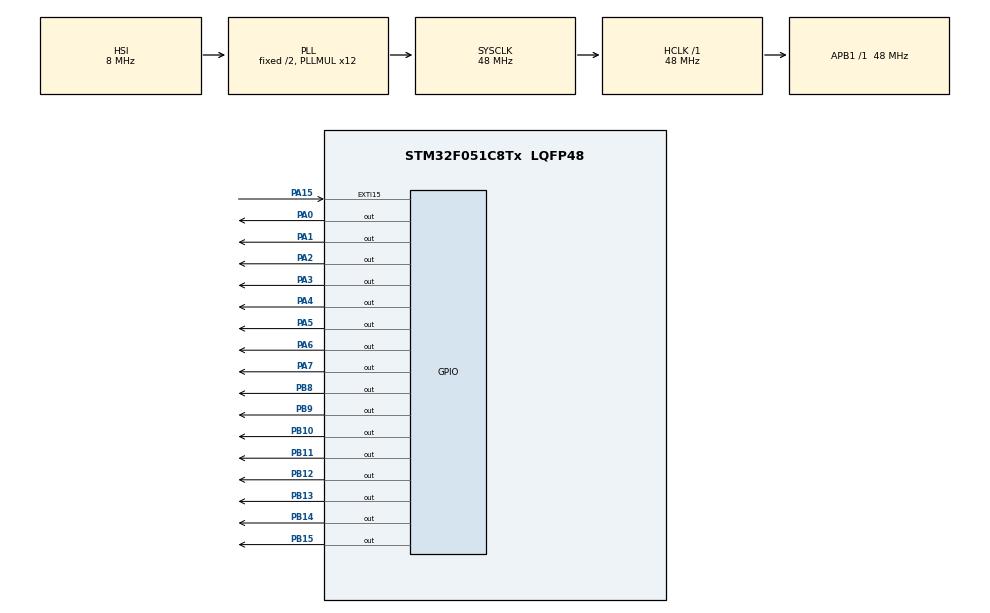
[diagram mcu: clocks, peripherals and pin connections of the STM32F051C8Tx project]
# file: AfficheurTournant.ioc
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Mcu.Family=STM32F0
Mcu.Name=STM32F051C8Tx
Mcu.Package=LQFP48
NVIC.EXTI4_15_IRQn=true\:0\:0\:false\:false\:true\:true
NVIC.TIM17_IRQn=true\:0\:0\:false\:false\:true\:true
NVIC.TIM3_IRQn=true\:0\:0\:false\:false\:true\:true
PA0.GPIO_Speed=GPIO_SPEED_FREQ_HIGH
PA0.PinState=GPIO_PIN_RESET
PA0.Signal=GPIO_Output
PA1.GPIO_ModeDefaultOutputPP=GPIO_MODE_OUTPUT_PP
PA1.GPIO_Speed=GPIO_SPEED_FREQ_HIGH
PA1.PinState=GPIO_PIN_RESET
PA1.Signal=GPIO_Output
PA15.Signal=GPXTI15
PA2.GPIO_Speed=GPIO_SPEED_FREQ_HIGH
PA2.PinState=GPIO_PIN_RESET
PA2.Signal=GPIO_Output
PA3.GPIO_Speed=GPIO_SPEED_FREQ_HIGH
PA3.PinState=GPIO_PIN_RESET
PA3.Signal=GPIO_Output
PA4.GPIO_Speed=GPIO_SPEED_FREQ_HIGH
PA4.PinState=GPIO_PIN_RESET
PA4.Signal=GPIO_Output
PA5.GPIO_Speed=GPIO_SPEED_FREQ_HIGH
PA5.PinState=GPIO_PIN_RESET
PA5.Signal=GPIO_Output
PA6.GPIO_Speed=GPIO_SPEED_FREQ_HIGH
PA6.PinState=GPIO_PIN_RESET
PA6.Signal=GPIO_Output
PA7.GPIO_Speed=GPIO_SPEED_FREQ_HIGH
PA7.PinState=GPIO_PIN_RESET
PA7.Signal=GPIO_Output
PB10.GPIO_Speed=GPIO_SPEED_FREQ_HIGH
PB10.PinState=GPIO_PIN_RESET
PB10.Signal=GPIO_Output
PB11.GPIO_Speed=GPIO_SPEED_FREQ_HIGH
PB11.PinState=GPIO_PIN_RESET
PB11.Signal=GPIO_Output
PB12.GPIO_Speed=GPIO_SPEED_FREQ_HIGH
PB12.PinState=GPIO_PIN_RESET
PB12.Signal=GPIO_Output
PB13.GPIO_Speed=GPIO_SPEED_FREQ_HIGH
PB13.PinState=GPIO_PIN_RESET
PB13.Signal=GPIO_Output
PB14.GPIO_Speed=GPIO_SPEED_FREQ_HIGH
PB14.PinState=GPIO_PIN_RESET
PB14.Signal=GPIO_Output
PB15.GPIO_Speed=GPIO_SPEED_FREQ_HIGH
PB15.PinState=GPIO_PIN_RESET
PB15.Signal=GPIO_Output
PB8.GPIO_FM8=__NULL
PB8.GPIO_Speed=GPIO_SPEED_FREQ_HIGH
PB8.PinState=GPIO_PIN_RESET
PB8.Signal=GPIO_Output
PB9.GPIO_Speed=GPIO_SPEED_FREQ_HIGH
PB9.PinState=GPIO_PIN_RESET
PB9.Signal=GPIO_Output
ProjectManager.HeapSize=0x200
ProjectManager.StackSize=0x400
ProjectManager.TargetToolchain=TrueSTUDIO
RCC.AHBFreq_Value=48000000
RCC.APB1Freq_Value=48000000
RCC.APB1TimFreq_Value=48000000
RCC.HCLKFreq_Value=48000000
RCC.PLLMUL=RCC_PLL_MUL12
RCC.SYSCLKFreq_VALUE=48000000
RCC.SYSCLKSource=RCC_SYSCLKSOURCE_PLLCLK
TIM17.Period=0xFFFF
TIM17.Prescaler=359
TIM3.Period=8333
TIM3.Prescaler=1
VP_TIM17_VS_ClockSourceINT.Mode=Enable_Timer
VP_TIM3_VS_ClockSourceINT.Mode=Internal
board=AfficheurTournant

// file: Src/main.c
/**
  ******************************************************************************
  * @file           : main.c
  * @brief          : Main program body
  ******************************************************************************
  ** This notice applies to any and all portions of this file
  * that are not between comment pairs USER CODE BEGIN and
  * USER CODE END. Other portions of this file, whether
  * inserted by the user or by software development tools
  * are owned by their respective copyright owners.
  *
  * COPYRIGHT(c) 2020 STMicroelectronics
  *
  * Redistribution and use in source and binary forms, with or without modification,
  * are permitted provided that the following conditions are met:
  *   1. Redistributions of source code must retain the above copyright notice,
  *      this list of conditions and the following disclaimer.
  *   2. Redistributions in binary form must reproduce the above copyright notice,
  *      this list of conditions and the following disclaimer in the documentation
  *      and/or other materials provided with the distribution.
  *   3. Neither the name of STMicroelectronics nor the names of its contributors
  *      may be used to endorse or promote products derived from this software
  *      without specific prior written permission.
  *
  * THIS SOFTWARE IS PROVIDED BY THE COPYRIGHT HOLDERS AND CONTRIBUTORS "AS IS"
  * AND ANY EXPRESS OR IMPLIED WARRANTIES, INCLUDING, BUT NOT LIMITED TO, THE
  * IMPLIED WARRANTIES OF MERCHANTABILITY AND FITNESS FOR A PARTICULAR PURPOSE ARE
  * DISCLAIMED. IN NO EVENT SHALL THE COPYRIGHT HOLDER OR CONTRIBUTORS BE LIABLE
  * FOR ANY DIRECT, INDIRECT, INCIDENTAL, SPECIAL, EXEMPLARY, OR CONSEQUENTIAL
  * DAMAGES (INCLUDING, BUT NOT LIMITED TO, PROCUREMENT OF SUBSTITUTE GOODS OR
  * SERVICES; LOSS OF USE, DATA, OR PROFITS; OR BUSINESS INTERRUPTION) HOWEVER
  * CAUSED AND ON ANY THEORY OF LIABILITY, WHETHER IN CONTRACT, STRICT LIABILITY,
  * OR TORT (INCLUDING NEGLIGENCE OR OTHERWISE) ARISING IN ANY WAY OUT OF THE USE
  * OF THIS SOFTWARE, EVEN IF ADVISED OF THE POSSIBILITY OF SUCH DAMAGE.
  *
  ******************************************************************************
  */
#include "main.h"
#include "stm32f0xx_hal.h"

/* USER CODE BEGIN Includes */
#include "LibCaracteres.h"
/* USER CODE END Includes */

TIM_HandleTypeDef htim3;
TIM_HandleTypeDef htim17;

/* USER CODE BEGIN PV */
/* Private variables ---------------------------------------------------------*/
TIM_HandleTypeDef htim3;
TIM_HandleTypeDef htim17;

static unsigned char Motif_Afficheur [180]={
0xFF,0xFF,0xFF,0xFF,0xFF,0xFF,
0x80,0xF6,0xF6,0xF6,0xF9,0xFF,    //P
0x80,0xBE,0xBE,0xBE,0x80,0xFF,    //O
0x80,0xBF,0xBF,0xBF,0xBF,0xFF,    //L
0xFE,0xFD,0x83,0xFD,0xFE,0xFF,    //Y
0xFE,0xFE,0x80,0xFE,0xFE,0xFF,    //T
0x80,0xB6,0xB6,0xBE,0xBE,0xFF,    //E
0x80,0xBE,0xBE,0xBE,0xBE,0xFF,    //C
0x80,0xF7,0xF7,0xF7,0x80,0xFF,    //H
0xFF,0xFF,0xFF,0xFF,0xFF,0xFF,
0xFF,0xFF,0xFF,0xFF,0xFF,0xFF,
0xFF,0xFF,0xFF,0xFF,0xFF,0xFF,
0xFF,0xFF,0xFF,0xFF,0xFF,0xFF,
0xFF,0xFF,0xFF,0xFF,0xFF,0xFF,
0xFF,0xFF,0xFF,0xFF,0xFF,0xFF,
0xFF,0xFF,0xFF,0xFF,0xFF,0xFF,
0xFF,0xFF,0xFF,0xFF,0xFF,0xFF,
0xFF,0xFF,0xFF,0xFF,0xFF,0xFF,
0xFF,0xFF,0xFF,0xFF,0xFF,0xFF,
0xFF,0xFF,0xFF,0xFF,0xFF,0xFF,
0xFF,0xFF,0xFF,0xFF,0xFF,0xFF,
0xFF,0xFF,0xFF,0xFF,0xFF,0xFF,
0xFF,0xFF,0xFF,0xFF,0xFF,0xFF,
0xFF,0xFF,0xFF,0xFF,0xFF,0xFF,
0xFF,0xFF,0xFF,0xFF,0xFF,0xFF,
0xFF,0xFF,0xFF,0xFF,0xFF,0xFF,
0xFF,0xFF,0xFF,0xFF,0xFF,0xFF,
0xFF,0xFF,0xFF,0xFF,0xFF,0xFF,
0xFF,0xFF,0xFF,0xFF,0xFF,0xFF,
0xFF,0xFF,0xFF,0xFF,0xFF,0XFF
};

volatile int DrapeauFourche;
int CompteurColonne = 0;

/* declarer la variable globale : drapeau interruption duree pixel  : Timer TIM3 */
// mettre votre code en dessous
volatile int DrapeauTim3=0;
/* declarer la variable globale : drapeau interruption duree tour complet  : Timer TIM3 */
// mettre votre code en dessous
volatile int DrapeauTim17=0;

/* USER CODE END PV */

void SystemClock_Config(void);
static void MX_GPIO_Init(void);
static void MX_TIM3_Init(void);
static void MX_TIM17_Init(void);

/* USER CODE BEGIN PFP */
/* Private function prototypes -----------------------------------------------*/

/* USER CODE END PFP */

int main(void)
{

  /* MCU Configuration----------------------------------------------------------*/

  /* Reset of all peripherals, Initializes the Flash interface and the Systick. */
  HAL_Init();

  /* Configure the system clock */
  SystemClock_Config();

  /* Initialize all configured peripherals */
  MX_GPIO_Init();
  MX_TIM3_Init();
  MX_TIM17_Init();
  /* USER CODE BEGIN 2 */
  HAL_TIM_Base_Start_IT(&htim3);
  HAL_TIM_Base_Start_IT(&htim17);
  /* USER CODE END 2 */

  /* Infinite loop */
   while (1)
   {

  /* USER CODE BEGIN 3 */

 	  if (DrapeauFourche)
 	  {
 	    /* reset du drapeau interruption externe PA15 pour synchroniser avec la routine d'interruption*/
         // ecrire le code en dessous
 		  DrapeauFourche = 0;
         /*reset du compteur de colonne*/
         // ecrire le code en dessous
 		  CompteurColonne = 0;

 		  if (!(TIM17->CR1 & (1<<0))) // test si le bit b0 de TIM17_CR1 n'est pas mis à 0
 		  {
 			  /*si oui alors demarrer le timer TIM17 : mettre à '1' le bit b0 de TIM17_CR1  */
               // ecrire le code en dessous
 			  TIM17->CR1 |= (1<<0);

 			  /* Demasquer la demande interruption du timer TIM17 : utiliser la fonction NVIC_EnableIRQ(Numero_IRQn) */
 			  // ecrire le code en dessous
 			  NVIC_EnableIRQ(TIM17_IRQn);//à revoir

 		  }
 		  else    // si le TIMER TIM17 n'est pas arreter
 		  {
 			  /* arreter le timer TIM17 */
               // ecrire le code en dessous
 			  TIM17->CR1 &= (~(1<<0));

              /* masquer sa demande interruption du TIM17 : utiliser la fonction NVIC_DisableIRQ(Numero_IRQn)*/
              // ecrire le code en dessous
 			  NVIC_DisableIRQ(TIM17_IRQn);

 			  /* arreter le timer TIM3 */
               // ecrire le code en dessous
 			  TIM3->CR1 &= (~(1<<0));

 			  /* masquer la demande interruption du Timer TIM3 : utiliser la fonction NVIC_EnableIRQ(Numero_IRQn)*/
 			  // ecrire le code en dessous
 			  NVIC_DisableIRQ(TIM3_IRQn);

 			  /* copier la valeur du compteur de TIM17 (TIM17_CNT) dans le registre TIM3_ARR du TIMER TIM3 */
 			  // ecrire le code en dessous
 			  TIM3->ARR = ((TIM17->CNT)-1);

 			  /* mettre a zero le compteur de TIM3 */
 			  // ecrire le code en dessous
 			  TIM3->CNT &= 0x0000;

 			  /* Demarrer le Timer TIM3 */
 			  // ecrire le code en dessous
 			  TIM3->CR1 |= (1<<0);

 			  /* Demasquer la demande interruption de TIM3 : utiliser la fonction NVIC_DisableIRQ(Numero_IRQn) */
 			  // ecrire le code en dessous
 			  NVIC_EnableIRQ(TIM3_IRQn);

 			  /* mettre a zero le compteur de TIM17 */
 			  // ecrire le code ici
 			  TIM17->CNT &= 0x0000;

 			  /* Demarrer le Timer TIM17 */
 			  // ecrire le code en dessous
 			  TIM17->CR1 |= (1<<0);

 			  /* Demasquer la demande interruption de TIM17 : utiliser la fonction NVIC_DisableIRQ(Numero_IRQn) */
 			  // ecrire le code en dessous
 			  NVIC_EnableIRQ(TIM17_IRQn);

 		  }
 	  }

 	  if (DrapeauTim3)/* test si le drapeau interruption Timer duree Pixel a '1' : TIM3 */
 	  {
 		  /* remettre le drapeau interruption Timer dureePixel a '0' : TIM3 */
 		  // ecrire le code ici
 		  DrapeauTim3=0;

 			  /* realiser affichage d'une colonne */
 			  // ecrire le code en dessous
 			  GPIOA->ODR |= 0xFF;
 		  	  GPIOA->ODR &= (Motif_Afficheur [CompteurColonne]);

 			  /* preparer pour l'affichage de la colonne suivante */
 			  // ecrire le code en dessous
 			  CompteurColonne++;

 	  }

 	  if (DrapeauTim17)/* test si le drapeau interruption Timer duree tour complet vaut '1' : TIM17 */
 	  {

 		  /* remettre le drapeau interruption Timer dureePixel a '1' : TIM3 */
 		  // ecrire le code en dessous
 		  DrapeauTim17=0;

 		  /* arreter le timer tim17 */
 		  // ecrire le code en dessous
 		  TIM17->CR1 &= (~(1<<0));

 		  /* masquer la demande interruption du TIM17 */
 		  // ecrire le code en dessous
 		  NVIC_DisableIRQ(TIM17_IRQn);

 	  }

   }
  /* USER CODE END 3 */

}

void SystemClock_Config(void)
{

  RCC_OscInitTypeDef RCC_OscInitStruct;
  RCC_ClkInitTypeDef RCC_ClkInitStruct;

    /**Initializes the CPU, AHB and APB busses clocks
    */
  RCC_OscInitStruct.OscillatorType = RCC_OSCILLATORTYPE_HSI;
  RCC_OscInitStruct.HSIState = RCC_HSI_ON;
  RCC_OscInitStruct.HSICalibrationValue = 16;
  RCC_OscInitStruct.PLL.PLLState = RCC_PLL_ON;
  RCC_OscInitStruct.PLL.PLLSource = RCC_PLLSOURCE_HSI;
  RCC_OscInitStruct.PLL.PLLMUL = RCC_PLL_MUL12;
  RCC_OscInitStruct.PLL.PREDIV = RCC_PREDIV_DIV1;
  if (HAL_RCC_OscConfig(&RCC_OscInitStruct) != HAL_OK)
  {
    _Error_Handler(__FILE__, __LINE__);
  }

    /**Initializes the CPU, AHB and APB busses clocks
    */
  RCC_ClkInitStruct.ClockType = RCC_CLOCKTYPE_HCLK|RCC_CLOCKTYPE_SYSCLK
                              |RCC_CLOCKTYPE_PCLK1;
  RCC_ClkInitStruct.SYSCLKSource = RCC_SYSCLKSOURCE_PLLCLK;
  RCC_ClkInitStruct.AHBCLKDivider = RCC_SYSCLK_DIV1;
  RCC_ClkInitStruct.APB1CLKDivider = RCC_HCLK_DIV1;

  if (HAL_RCC_ClockConfig(&RCC_ClkInitStruct, FLASH_LATENCY_1) != HAL_OK)
  {
    _Error_Handler(__FILE__, __LINE__);
  }

    /**Configure the Systick interrupt time
    */
  HAL_SYSTICK_Config(HAL_RCC_GetHCLKFreq()/1000);

    /**Configure the Systick
    */
  HAL_SYSTICK_CLKSourceConfig(SYSTICK_CLKSOURCE_HCLK);

  /* SysTick_IRQn interrupt configuration */
  HAL_NVIC_SetPriority(SysTick_IRQn, 0, 0);
}

/* TIM3 init function */
static void MX_TIM3_Init(void)
{

  TIM_ClockConfigTypeDef sClockSourceConfig;
  TIM_MasterConfigTypeDef sMasterConfig;

  htim3.Instance = TIM3;
  htim3.Init.Prescaler = 2;
  htim3.Init.CounterMode = TIM_COUNTERMODE_UP;
  htim3.Init.Period = 8333;
  htim3.Init.ClockDivision = TIM_CLOCKDIVISION_DIV1;
  htim3.Init.AutoReloadPreload = TIM_AUTORELOAD_PRELOAD_DISABLE;
  if (HAL_TIM_Base_Init(&htim3) != HAL_OK)
  {
    _Error_Handler(__FILE__, __LINE__);
  }

  sClockSourceConfig.ClockSource = TIM_CLOCKSOURCE_INTERNAL;
  if (HAL_TIM_ConfigClockSource(&htim3, &sClockSourceConfig) != HAL_OK)
  {
    _Error_Handler(__FILE__, __LINE__);
  }

  sMasterConfig.MasterOutputTrigger = TIM_TRGO_RESET;
  sMasterConfig.MasterSlaveMode = TIM_MASTERSLAVEMODE_DISABLE;
  if (HAL_TIMEx_MasterConfigSynchronization(&htim3, &sMasterConfig) != HAL_OK)
  {
    _Error_Handler(__FILE__, __LINE__);
  }

}

/* TIM17 init function */
static void MX_TIM17_Init(void)
{

  htim17.Instance = TIM17;
  htim17.Init.Prescaler = 360;
  htim17.Init.CounterMode = TIM_COUNTERMODE_UP;
  htim17.Init.Period = 0xFFFF;
  htim17.Init.ClockDivision = TIM_CLOCKDIVISION_DIV1;
  htim17.Init.RepetitionCounter = 0;
  htim17.Init.AutoReloadPreload = TIM_AUTORELOAD_PRELOAD_DISABLE;
  if (HAL_TIM_Base_Init(&htim17) != HAL_OK)
  {
    _Error_Handler(__FILE__, __LINE__);
  }

}

/** Configure pins as
        * Analog
        * Input
        * Output
        * EVENT_OUT
        * EXTI
*/
static void MX_GPIO_Init(void)
{

  GPIO_InitTypeDef GPIO_InitStruct;

  /* GPIO Ports Clock Enable */
  __HAL_RCC_GPIOA_CLK_ENABLE();
  __HAL_RCC_GPIOB_CLK_ENABLE();

  /*Configure GPIO pin Output Level */
  HAL_GPIO_WritePin(GPIOA, GPIO_PIN_0|GPIO_PIN_1|GPIO_PIN_2|GPIO_PIN_3
                          |GPIO_PIN_4|GPIO_PIN_5|GPIO_PIN_6|GPIO_PIN_7, GPIO_PIN_SET);

  /*Configure GPIO pin Output Level */
  HAL_GPIO_WritePin(GPIOB, GPIO_PIN_10|GPIO_PIN_11|GPIO_PIN_12|GPIO_PIN_13
                          |GPIO_PIN_14|GPIO_PIN_15|GPIO_PIN_8|GPIO_PIN_9, GPIO_PIN_SET);

  /*Configure GPIO pins : PA0 PA1 PA2 PA3
                           PA4 PA5 PA6 PA7 */
  GPIO_InitStruct.Pin = GPIO_PIN_0|GPIO_PIN_1|GPIO_PIN_2|GPIO_PIN_3
                          |GPIO_PIN_4|GPIO_PIN_5|GPIO_PIN_6|GPIO_PIN_7;
  GPIO_InitStruct.Mode = GPIO_MODE_OUTPUT_PP;
  GPIO_InitStruct.Pull = GPIO_NOPULL;
  GPIO_InitStruct.Speed = GPIO_SPEED_FREQ_HIGH;
  HAL_GPIO_Init(GPIOA, &GPIO_InitStruct);

  /*Configure GPIO pins : PB10 PB11 PB12 PB13
                           PB14 PB15 PB8 PB9 */
  GPIO_InitStruct.Pin = GPIO_PIN_10|GPIO_PIN_11|GPIO_PIN_12|GPIO_PIN_13
                          |GPIO_PIN_14|GPIO_PIN_15|GPIO_PIN_8|GPIO_PIN_9;
  GPIO_InitStruct.Mode = GPIO_MODE_OUTPUT_PP;
  GPIO_InitStruct.Pull = GPIO_NOPULL;
  GPIO_InitStruct.Speed = GPIO_SPEED_FREQ_HIGH;
  HAL_GPIO_Init(GPIOB, &GPIO_InitStruct);

  /*Configure GPIO pin : PA15 */
  GPIO_InitStruct.Pin = GPIO_PIN_15;
  GPIO_InitStruct.Mode = GPIO_MODE_IT_RISING;
  GPIO_InitStruct.Pull = GPIO_NOPULL;
  HAL_GPIO_Init(GPIOA, &GPIO_InitStruct);

  /**/
  HAL_I2CEx_EnableFastModePlus(SYSCFG_CFGR1_I2C_FMP_PB8);

  /**/
  HAL_I2CEx_EnableFastModePlus(SYSCFG_CFGR1_I2C_FMP_PB9);

  /* EXTI interrupt init*/
  HAL_NVIC_SetPriority(EXTI4_15_IRQn, 0, 0);
  HAL_NVIC_EnableIRQ(EXTI4_15_IRQn);

}

/* USER CODE BEGIN 4 */
void HAL_GPIO_EXTI_Callback(uint16_t GPIO_Pin)
{
if(GPIO_Pin == GPIO_PIN_15)
{
DrapeauFourche = 1 ;
}
}
void HAL_TIM_PeriodElapsedCallback(TIM_HandleTypeDef *htim)
{
if (htim->Instance == TIM3)
{
/* Mettre a '1' le drapeau interruption duree pixel ou colonne : TIM3 */
	DrapeauTim3 = 1 ;
}
if (htim->Instance == TIM17)
{
/*TIM17 */
	DrapeauTim17 = 1 ;
}
}
/* USER CODE END 4 */

void _Error_Handler(char *file, int line)
{
  while(1)
  {
  }
}

/************************ (C) COPYRIGHT STMicroelectronics *****END OF FILE****/
